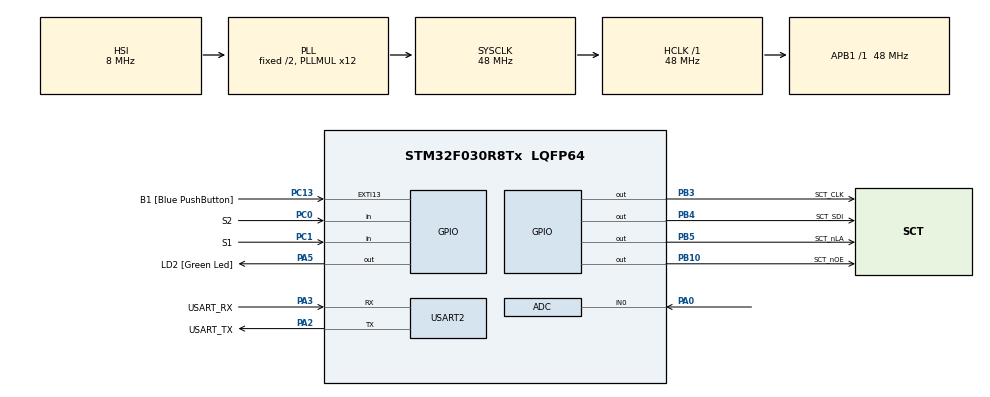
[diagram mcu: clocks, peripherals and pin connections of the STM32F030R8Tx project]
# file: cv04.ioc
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ADC.ContinuousConvMode=ENABLE
ADC.Overrun=ADC_OVR_DATA_OVERWRITTEN
ADC.SamplingTime=ADC_SAMPLETIME_239CYCLES_5
Mcu.Family=STM32F0
Mcu.Name=STM32F030R8Tx
Mcu.Package=LQFP64
NVIC.ADC1_IRQn=true\:0\:0\:false\:false\:true\:true\:true\:true
PA0.Mode=IN0
PA0.Signal=ADC_IN0
PA13.GPIO_Label=TMS
PA13.Mode=Serial_Wire
PA13.Signal=SYS_SWDIO
PA14.GPIO_Label=TCK
PA14.Mode=Serial_Wire
PA14.Signal=SYS_SWCLK
PA2.GPIO_Label=USART_TX
PA2.GPIO_Mode=GPIO_MODE_AF_PP
PA2.GPIO_PuPd=GPIO_NOPULL
PA2.GPIO_Speed=GPIO_SPEED_FREQ_LOW
PA2.Mode=Asynchronous
PA2.Signal=USART2_TX
PA3.GPIO_Label=USART_RX
PA3.GPIO_Mode=GPIO_MODE_AF_PP
PA3.GPIO_PuPd=GPIO_NOPULL
PA3.GPIO_Speed=GPIO_SPEED_FREQ_LOW
PA3.Mode=Asynchronous
PA3.Signal=USART2_RX
PA5.GPIO_Label=LD2 [Green Led]
PA5.GPIO_Mode=GPIO_MODE_OUTPUT_PP
PA5.GPIO_PuPd=GPIO_NOPULL
PA5.GPIO_Speed=GPIO_SPEED_FREQ_LOW
PA5.Signal=GPIO_Output
PB10.GPIO_Label=SCT_nOE
PB10.Signal=GPIO_Output
PB3.GPIO_Label=SCT_CLK
PB3.Signal=GPIO_Output
PB4.GPIO_Label=SCT_SDI
PB4.Signal=GPIO_Output
PB5.GPIO_Label=SCT_nLA
PB5.Signal=GPIO_Output
PC0.GPIO_Label=S2
PC0.GPIO_PuPd=GPIO_PULLUP
PC0.Signal=GPIO_Input
PC1.GPIO_Label=S1
PC1.GPIO_PuPd=GPIO_PULLUP
PC1.Signal=GPIO_Input
PC13.GPIO_Label=B1 [Blue PushButton]
PC13.GPIO_ModeDefaultEXTI=GPIO_MODE_IT_FALLING
PC13.Signal=GPXTI13
PC14-OSC32_IN.Mode=LSE-External-Oscillator
PC14-OSC32_IN.Signal=RCC_OSC32_IN
PC15-OSC32_OUT.Mode=LSE-External-Oscillator
PC15-OSC32_OUT.Signal=RCC_OSC32_OUT
PF0-OSC_IN.Mode=HSE-External-Clock-Source
PF0-OSC_IN.Signal=RCC_OSC_IN
PF1-OSC_OUT.Signal=RCC_OSC_OUT
ProjectManager.HeapSize=0x200
ProjectManager.StackSize=0x400
ProjectManager.TargetToolchain=STM32CubeIDE
RCC.AHBFreq_Value=48000000
RCC.APB1Freq_Value=48000000
RCC.APB1TimFreq_Value=48000000
RCC.HCLKFreq_Value=48000000
RCC.PLLMUL=RCC_PLL_MUL12
RCC.SYSCLKFreq_VALUE=48000000
RCC.SYSCLKSource=RCC_SYSCLKSOURCE_PLLCLK
USART2.VirtualMode-Asynchronous=VM_ASYNC
VP_ADC_TempSens_Input.Mode=IN-TempSens
VP_ADC_Vref_Input.Mode=IN-Vrefint
board=NUCLEO-F030R8

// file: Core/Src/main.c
/* USER CODE BEGIN Header */
/**
 ******************************************************************************
 * @file           : main.c
 * @brief          : Main program body
 ******************************************************************************
 * @attention
 *
 * Copyright (c) 2022 STMicroelectronics.
 * All rights reserved.
 *
 * This software is licensed under terms that can be found in the LICENSE file
 * in the root directory of this software component.
 * If no LICENSE file comes with this software, it is provided AS-IS.
 *
 ******************************************************************************
 */
/* USER CODE END Header */
#include "main.h"

/* USER CODE BEGIN Includes */
#include "sct.h"
/* USER CODE END Includes */

/* USER CODE BEGIN PD */
#define DISPLAY_PERIOD	50 // Display refresh period in ms
#define ADC_Q           16
/* USER CODE END PD */

ADC_HandleTypeDef hadc;

UART_HandleTypeDef huart2;

/* USER CODE BEGIN PV */
static volatile uint32_t raw_pot;
static volatile uint32_t raw_temp;
static volatile uint32_t raw_volt;
/* USER CODE END PV */

void SystemClock_Config(void);
static void MX_GPIO_Init(void);
static void MX_USART2_UART_Init(void);
static void MX_ADC_Init(void);

/* USER CODE BEGIN 0 */
void HAL_ADC_ConvCpltCallback(ADC_HandleTypeDef *hadc) {

	static uint8_t channel = 0;

	if (channel == 0) {
		static uint32_t avg_pot;

		raw_pot = avg_pot >> ADC_Q;
		avg_pot -= raw_pot;
		avg_pot += HAL_ADC_GetValue(hadc);
	} else if (channel == 1) {
		raw_temp = HAL_ADC_GetValue(hadc);
	} else {
		raw_volt = HAL_ADC_GetValue(hadc);
	}

	// Increment/reset channel indicator
	if (__HAL_ADC_GET_FLAG(hadc, ADC_FLAG_EOS)) {
		channel = 0;
	} else {
		channel++;
	}
}
/* USER CODE END 0 */

int main(void)
{

  /* MCU Configuration--------------------------------------------------------*/

  /* Reset of all peripherals, Initializes the Flash interface and the Systick. */
  HAL_Init();

  /* Configure the system clock */
  SystemClock_Config();

  /* Initialize all configured peripherals */
  MX_GPIO_Init();
  MX_USART2_UART_Init();
  MX_ADC_Init();
  /* USER CODE BEGIN 2 */
	HAL_ADCEx_Calibration_Start(&hadc);
	HAL_ADC_Start_IT(&hadc);
  /* USER CODE END 2 */

  /* Infinite loop */
  /* USER CODE BEGIN WHILE */
	while (1) {

		static uint32_t lastDisplayTicks = 0;

		if(HAL_GetTick() >= lastDisplayTicks + DISPLAY_PERIOD) {
			lastDisplayTicks = HAL_GetTick();

			sct_value(raw_pot * 500.5 / 4095);
		}

    /* USER CODE END WHILE */

	}
}

void SystemClock_Config(void)
{
  RCC_OscInitTypeDef RCC_OscInitStruct = {0};
  RCC_ClkInitTypeDef RCC_ClkInitStruct = {0};

  /** Initializes the RCC Oscillators according to the specified parameters
  * in the RCC_OscInitTypeDef structure.
  */
  RCC_OscInitStruct.OscillatorType = RCC_OSCILLATORTYPE_HSI|RCC_OSCILLATORTYPE_HSI14;
  RCC_OscInitStruct.HSIState = RCC_HSI_ON;
  RCC_OscInitStruct.HSI14State = RCC_HSI14_ON;
  RCC_OscInitStruct.HSICalibrationValue = RCC_HSICALIBRATION_DEFAULT;
  RCC_OscInitStruct.HSI14CalibrationValue = 16;
  RCC_OscInitStruct.PLL.PLLState = RCC_PLL_ON;
  RCC_OscInitStruct.PLL.PLLSource = RCC_PLLSOURCE_HSI;
  RCC_OscInitStruct.PLL.PLLMUL = RCC_PLL_MUL12;
  RCC_OscInitStruct.PLL.PREDIV = RCC_PREDIV_DIV1;
  if (HAL_RCC_OscConfig(&RCC_OscInitStruct) != HAL_OK)
  {
    Error_Handler();
  }

  /** Initializes the CPU, AHB and APB buses clocks
  */
  RCC_ClkInitStruct.ClockType = RCC_CLOCKTYPE_HCLK|RCC_CLOCKTYPE_SYSCLK
                              |RCC_CLOCKTYPE_PCLK1;
  RCC_ClkInitStruct.SYSCLKSource = RCC_SYSCLKSOURCE_PLLCLK;
  RCC_ClkInitStruct.AHBCLKDivider = RCC_SYSCLK_DIV1;
  RCC_ClkInitStruct.APB1CLKDivider = RCC_HCLK_DIV1;

  if (HAL_RCC_ClockConfig(&RCC_ClkInitStruct, FLASH_LATENCY_1) != HAL_OK)
  {
    Error_Handler();
  }
}

static void MX_ADC_Init(void)
{

  ADC_ChannelConfTypeDef sConfig = {0};

  /** Configure the global features of the ADC (Clock, Resolution, Data Alignment and number of conversion)
  */
  hadc.Instance = ADC1;
  hadc.Init.ClockPrescaler = ADC_CLOCK_ASYNC_DIV1;
  hadc.Init.Resolution = ADC_RESOLUTION_12B;
  hadc.Init.DataAlign = ADC_DATAALIGN_RIGHT;
  hadc.Init.ScanConvMode = ADC_SCAN_DIRECTION_FORWARD;
  hadc.Init.EOCSelection = ADC_EOC_SINGLE_CONV;
  hadc.Init.LowPowerAutoWait = DISABLE;
  hadc.Init.LowPowerAutoPowerOff = DISABLE;
  hadc.Init.ContinuousConvMode = ENABLE;
  hadc.Init.DiscontinuousConvMode = DISABLE;
  hadc.Init.ExternalTrigConv = ADC_SOFTWARE_START;
  hadc.Init.ExternalTrigConvEdge = ADC_EXTERNALTRIGCONVEDGE_NONE;
  hadc.Init.DMAContinuousRequests = DISABLE;
  hadc.Init.Overrun = ADC_OVR_DATA_OVERWRITTEN;
  if (HAL_ADC_Init(&hadc) != HAL_OK)
  {
    Error_Handler();
  }

  /** Configure for the selected ADC regular channel to be converted.
  */
  sConfig.Channel = ADC_CHANNEL_0;
  sConfig.Rank = ADC_RANK_CHANNEL_NUMBER;
  sConfig.SamplingTime = ADC_SAMPLETIME_239CYCLES_5;
  if (HAL_ADC_ConfigChannel(&hadc, &sConfig) != HAL_OK)
  {
    Error_Handler();
  }

  /** Configure for the selected ADC regular channel to be converted.
  */
  sConfig.Channel = ADC_CHANNEL_TEMPSENSOR;
  if (HAL_ADC_ConfigChannel(&hadc, &sConfig) != HAL_OK)
  {
    Error_Handler();
  }

  /** Configure for the selected ADC regular channel to be converted.
  */
  sConfig.Channel = ADC_CHANNEL_VREFINT;
  if (HAL_ADC_ConfigChannel(&hadc, &sConfig) != HAL_OK)
  {
    Error_Handler();
  }

}

static void MX_USART2_UART_Init(void)
{

  huart2.Instance = USART2;
  huart2.Init.BaudRate = 38400;
  huart2.Init.WordLength = UART_WORDLENGTH_8B;
  huart2.Init.StopBits = UART_STOPBITS_1;
  huart2.Init.Parity = UART_PARITY_NONE;
  huart2.Init.Mode = UART_MODE_TX_RX;
  huart2.Init.HwFlowCtl = UART_HWCONTROL_NONE;
  huart2.Init.OverSampling = UART_OVERSAMPLING_16;
  huart2.Init.OneBitSampling = UART_ONE_BIT_SAMPLE_DISABLE;
  huart2.AdvancedInit.AdvFeatureInit = UART_ADVFEATURE_NO_INIT;
  if (HAL_UART_Init(&huart2) != HAL_OK)
  {
    Error_Handler();
  }

}

static void MX_GPIO_Init(void)
{
  GPIO_InitTypeDef GPIO_InitStruct = {0};

  /* GPIO Ports Clock Enable */
  __HAL_RCC_GPIOC_CLK_ENABLE();
  __HAL_RCC_GPIOF_CLK_ENABLE();
  __HAL_RCC_GPIOA_CLK_ENABLE();
  __HAL_RCC_GPIOB_CLK_ENABLE();

  /*Configure GPIO pin Output Level */
  HAL_GPIO_WritePin(GPIOA, GPIO_PIN_5, GPIO_PIN_RESET);

  /*Configure GPIO pin Output Level */
  HAL_GPIO_WritePin(GPIOB, GPIO_PIN_10|GPIO_PIN_3|GPIO_PIN_4|GPIO_PIN_5, GPIO_PIN_RESET);

  /*Configure GPIO pin : PC13 */
  GPIO_InitStruct.Pin = GPIO_PIN_13;
  GPIO_InitStruct.Mode = GPIO_MODE_IT_FALLING;
  GPIO_InitStruct.Pull = GPIO_NOPULL;
  HAL_GPIO_Init(GPIOC, &GPIO_InitStruct);

  /*Configure GPIO pins : PC0 PC1 */
  GPIO_InitStruct.Pin = GPIO_PIN_0|GPIO_PIN_1;
  GPIO_InitStruct.Mode = GPIO_MODE_INPUT;
  GPIO_InitStruct.Pull = GPIO_PULLUP;
  HAL_GPIO_Init(GPIOC, &GPIO_InitStruct);

  /*Configure GPIO pin : PA5 */
  GPIO_InitStruct.Pin = GPIO_PIN_5;
  GPIO_InitStruct.Mode = GPIO_MODE_OUTPUT_PP;
  GPIO_InitStruct.Pull = GPIO_NOPULL;
  GPIO_InitStruct.Speed = GPIO_SPEED_FREQ_LOW;
  HAL_GPIO_Init(GPIOA, &GPIO_InitStruct);

  /*Configure GPIO pins : PB10 PB3 PB4 PB5 */
  GPIO_InitStruct.Pin = GPIO_PIN_10|GPIO_PIN_3|GPIO_PIN_4|GPIO_PIN_5;
  GPIO_InitStruct.Mode = GPIO_MODE_OUTPUT_PP;
  GPIO_InitStruct.Pull = GPIO_NOPULL;
  GPIO_InitStruct.Speed = GPIO_SPEED_FREQ_LOW;
  HAL_GPIO_Init(GPIOB, &GPIO_InitStruct);

}

void Error_Handler(void)
{
	__disable_irq();
	while (1) {
	}
}
